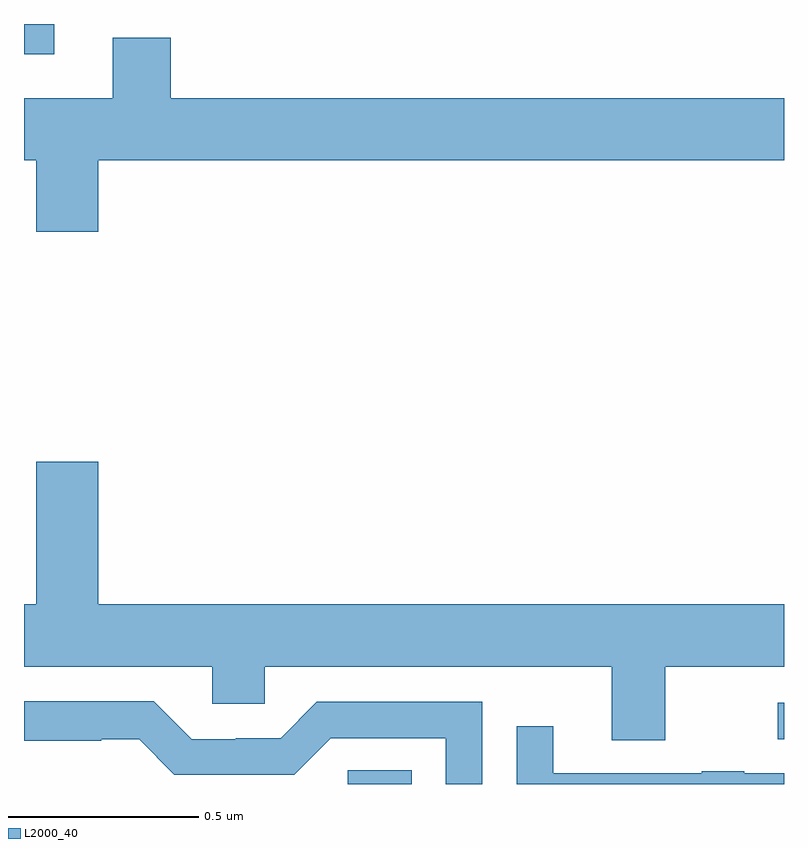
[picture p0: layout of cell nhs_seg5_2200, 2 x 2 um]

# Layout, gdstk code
import gdstk
lib = gdstk.Library(unit=1e-6, precision=1e-09)
def R(c, l, rs):  # rectangles x0, y0, x1, y1
    for r in rs: c.add(gdstk.rectangle(r[:2], r[2:], *l))
def P(c, l, *ps):  # polygons
    for p in ps: c.add(gdstk.Polygon(p, *l))
L2000_40 = (2000, 40)

nhs_seg5_2200 = lib.new_cell('nhs_seg5_2200')
R(nhs_seg5_2200, L2000_40, [(141.852,841.799,142.02,841.835), (142.983,841.917,143,842.013), (141,843.72,141.079,843.799)])
P(nhs_seg5_2200, L2000_40, [(141.196,843.44),(143,843.44),(143,843.604),(141.386,843.604),(141.386,843.763),(141.233,843.763),(141.233,843.604),(141,843.604),(141,843.44),(141.032,843.44),(141.032,843.252),(141.196,843.252)],
  [(142.687,842.108),(143,842.108),(143,842.272),(141.196,842.272),(141.196,842.647),(141.032,842.647),(141.032,842.272),(141,842.272),(141,842.108),(141.495,842.108),(141.495,842.01),(141.633,842.01),(141.633,842.108),(142.547,842.108),(142.547,841.914),(142.687,841.914)],
  [(142.206,842.016),(141.771,842.016),(141.675,841.92),(141.557,841.92),(141.557,841.917),(141.441,841.917),(141.341,842.017),(141,842.017),(141,841.913),(141.203,841.913),(141.203,841.917),(141.303,841.917),(141.396,841.824),(141.711,841.824),(141.807,841.92),(142.11,841.92),(142.11,841.799),(142.206,841.799)],
  [(143,841.827),(142.895,841.827),(142.895,841.832),(142.783,841.832),(142.783,841.827),(142.393,841.827),(142.393,841.951),(142.297,841.951),(142.297,841.799),(143,841.799)])

lib.write_gds('nhs_seg5_2200.gds')
